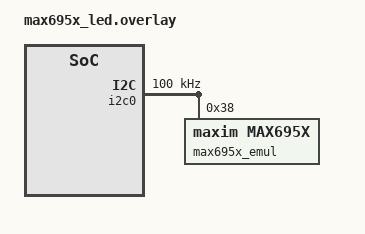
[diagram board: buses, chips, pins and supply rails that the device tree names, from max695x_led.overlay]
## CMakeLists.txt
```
# Copyright 2022 The ChromiumOS Authors
# Use of this source code is governed by a BSD-style license that can be
# found in the LICENSE file.

# Add include paths
target_include_directories(app PRIVATE
    "${PLATFORM_EC}/zephyr/shim/src/led_driver"
    "${CMAKE_CURRENT_SOURCE_DIR}/src")

# Add source files
zephyr_library_sources_ifdef(CONFIG_LINK_TEST_SUITE_LED_DRIVER
    src/led_common.c
    src/led.c
    src/stubs.c
)
zephyr_library_sources_ifdef(CONFIG_LINK_TEST_SUITE_LED_DRIVER_ALIAS_LED
    src/led_alias.c
)
zephyr_library_sources_ifdef(CONFIG_LINK_TEST_SUITE_LED_DRIVER_CUSTOM
    src/led_custom.c
    src/stubs.c
)
zephyr_library_sources_ifdef(CONFIG_LINK_TEST_SUITE_LED_DRIVER_SEQUENCE
    src/led_sequence.c
    src/stubs.c
)
zephyr_library_sources_ifdef(CONFIG_LINK_TEST_SUITE_LED_DRIVER_MAX695X
    src/max695x_led_test_simple.c
    src/stubs.c
    ${PLATFORM_EC}/driver/led/max695x.c
)
```

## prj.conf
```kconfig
# Copyright 2022 The ChromiumOS Authors
# Use of this source code is governed by a BSD-style license that can be
# found in the LICENSE file.

# Configuration for MAX695x LED driver tests
CONFIG_PLATFORM_EC_MAX695X_SEVEN_SEGMENT_DISPLAY=y
# Console command enabled to test driver console functionality
CONFIG_PLATFORM_EC_CONSOLE_CMD_SEVEN_SEGMENT_DISPLAY=y
CONFIG_I2C=y
CONFIG_PLATFORM_EC_I2C=y
CONFIG_EMUL=y
CONFIG_I2C_EMUL=y
CONFIG_PLATFORM_EC_HOOKS=y
```

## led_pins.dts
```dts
/* Copyright 2022 The ChromiumOS Authors
 * Use of this source code is governed by a BSD-style license that can be
 * found in the LICENSE file.
 */

 /* Based off of `ec/zephyr/program/herobrine/led_pins_herobrine.dts`
  * Modified led-colors to obtain better test coverage.
  */
/ {
	/delete-node/ pwm-led-pins;

	led_pins: gpio-led-pins {
		compatible = "cros-ec,gpio-led-pins";

		left_led: left-led {
			led-id = "EC_LED_ID_SYSRQ_DEBUG_LED";
			led-pins = <&gpio_ec_chg_led_y_c1
				    &gpio_ec_chg_led_w_c1>;

			sysrq_debug_led_off: color-off {
				led-color = "LED_OFF";
				led-values = <0 0>;
			};

			sysrq_debug_led_blue: color-blue-left {
				led-color = "LED_BLUE";
				led-values = <1 0>;
			};
			sysrq_debug_led_white: color-white-left {
				led-color = "LED_WHITE";
				led-values = <0 1>;
			};
		};

		right_led: right-led {
			led-id = "EC_LED_ID_BATTERY_LED";
			led-pins = <&gpio_ec_chg_led_y_c0
				    &gpio_ec_chg_led_w_c0>;

			battery_led_off: color-off {
				led-color = "LED_OFF";
				led-values = <0 0>;
			};
			battery_led_blue: color-blue-right {
				led-color = "LED_BLUE";
				led-values = <1 0>;
			};
			battery_led_white: color-white-right {
				led-color = "LED_WHITE";
				led-values = <0 1>;
			};
		};
	};
};
```

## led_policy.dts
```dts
/* Copyright 2022 The ChromiumOS Authors
 * Use of this source code is governed by a BSD-style license that can be
 * found in the LICENSE file.
 */

/* Based off of `ec/zephyr/program/brox/led_policy.dtsi`
 * Modified led-colors to obtain better test coverage.
 */

#include <dt-bindings/battery.h>

/ {
	led-colors {
		compatible = "cros-ec,led-policy";
		led-pins = <&led_pins>;

		power-state-charge-right-with-alt-policy-1 {
			charge-state = "LED_PWRS_CHARGE";
			charge-port = <0>; /* Right port */
			batt-lvl = <BATTERY_LEVEL_EMPTY 99>;
			/* Battery is charging */
			batt-state-mask = <SB_STATUS_DISCHARGING>;
			batt-state = <0>;
			board-led-alt-policy-label = <1>;

			battery-led {
				led-id = "EC_LED_ID_BATTERY_LED";

				color-0 {
					led-color = <&battery_led_white>;
				};
			};
		};

		power-state-charge-right-with-alt-policy-0 {
			charge-state = "LED_PWRS_CHARGE";
			charge-port = <0>; /* Right port */
			batt-lvl = <BATTERY_LEVEL_EMPTY 99>;
			/* Battery is charging */
			batt-state-mask = <SB_STATUS_DISCHARGING>;
			batt-state = <0>;
			board-led-alt-policy-label = <0>;

			battery-led {
				led-id = "EC_LED_ID_BATTERY_LED";

				color-0 {
					led-color = <&battery_led_off>;
				};
			};
		};

		power-state-charge-right-full {
			charge-state = "LED_PWRS_CHARGE";
			charge-port = <0>; /* Right port */
			batt-lvl = <100 100>;
			/* Battery is charging */
			batt-state-mask = <SB_STATUS_DISCHARGING>;
			batt-state = <0>;

			battery-led {
				led-id = "EC_LED_ID_BATTERY_LED";

				color-0 {
					led-color = <&battery_led_blue>;
				};
			};
		};

		power-state-charge-left {
			charge-state = "LED_PWRS_CHARGE";
			charge-port = <1>; /* Left port */

			battery-led {
				led-id = "EC_LED_ID_BATTERY_LED";
				/* Blue 1 sec, White 1 sec */
				color-0 {
					led-color = <&battery_led_blue>;
					period-ms = <1000>;
				};
				color-1 {
					led-color = <&battery_led_white>;
					period-ms = <1000>;
				};
			};
		};

		power-state-near-full {
			charge-state = "LED_PWRS_CHARGE_NEAR_FULL";

			battery-led {
				led-id = "EC_LED_ID_BATTERY_LED";

				color-0 {
					led-color = <&battery_led_blue>;
				};
			};
		};

		power-state-discharge-valid {
			charge-state = "LED_PWRS_DISCHARGE";
			batt-lvl = <BATTERY_LEVEL_EMPTY 99>;
			/* Battery is discharging */
			batt-state-mask = <SB_STATUS_DISCHARGING>;
			batt-state = <SB_STATUS_DISCHARGING>;

			battery-led {
				led-id = "EC_LED_ID_BATTERY_LED";

				color-0 {
					led-color = <&battery_led_off>;
				};
			};
		};

		/* This policy is invalid and should never trigger*/
		power-state-discharge-invalid {
			charge-state = "LED_PWRS_DISCHARGE";
			batt-lvl = <100 100>;
			batt-state-mask = <SB_STATUS_DISCHARGING>;
			batt-state = <0>;

			battery-led {
				led-id = "EC_LED_ID_BATTERY_LED";

				color-0 {
					led-color = <&battery_led_blue>;
				};
			};
		};

		power-state-error-left-low {
			charge-state = "LED_PWRS_ERROR";
			charge-port = <1>; /* Left port */
			batt-lvl = <BATTERY_LEVEL_EMPTY BATTERY_LEVEL_LOW>;

			battery-led {
				led-id = "EC_LED_ID_BATTERY_LED";
				/* Blue 1 sec, White 1 sec */
				color-0 {
					led-color = <&battery_led_blue>;
					period-ms = <1000>;
				};
				color-1 {
					led-color = <&battery_led_white>;
					period-ms = <1000>;
				};
			};
		};

		power-state-error-left-high {
			charge-state = "LED_PWRS_ERROR";
			charge-port = <1>; /* Left port */
			batt-lvl = <(BATTERY_LEVEL_LOW + 1) BATTERY_LEVEL_FULL>;

			battery-led {
				led-id = "EC_LED_ID_BATTERY_LED";
				/* Blue 1 sec, White 1 sec */
				color-0 {
					led-color = <&battery_led_blue>;
					period-ms = <1000>;
				};
				color-1 {
					led-color = <&battery_led_white>;
					period-ms = <1000>;
				};
			};
		};

		power-state-error-right {
			charge-state = "LED_PWRS_ERROR";
			charge-port = <0>; /* Right port */
			/* Battery is charging */
			batt-state-mask = <SB_STATUS_DISCHARGING>;
			batt-state = <0>;

			battery-led {
				led-id = "EC_LED_ID_BATTERY_LED";
				/* Blue 1 sec, White 1 sec */
				color-0 {
					led-color = <&battery_led_blue>;
					period-ms = <1000>;
				};
				color-1 {
					led-color = <&battery_led_white>;
					period-ms = <1000>;
				};
			};
		};

		power-state-forced-idle {
			charge-state = "LED_PWRS_FORCED_IDLE";

			battery-led {
				led-id = "EC_LED_ID_BATTERY_LED";
				color-0 {
					led-color = <&battery_led_off>;
				};
			};
		};

		power-state-idle {
			charge-state = "LED_PWRS_IDLE";

			battery-led {
				led-id = "EC_LED_ID_BATTERY_LED";
				color-0 {
					led-color = <&battery_led_off>;
				};
			};
		};

		chipset-state-s0 {
			chipset-state = "POWER_S0";

			power-led {
				led-id = "EC_LED_ID_SYSRQ_DEBUG_LED";

				color-0 {
					led-color = <&sysrq_debug_led_blue>;
				};
			};
		};

		chipset-state-s3 {
			chipset-state = "POWER_S3";

			power-led {
				led-id = "EC_LED_ID_SYSRQ_DEBUG_LED";

				color-0 {
					led-color = <&sysrq_debug_led_white>;
				};
			};
		};

		chipset-state-s5 {
			chipset-state = "POWER_S5";

			power-led {
				led-id = "EC_LED_ID_SYSRQ_DEBUG_LED";

				color-0 {
					led-color = <&sysrq_debug_led_off>;
				};
			};
		};
	};
};
```

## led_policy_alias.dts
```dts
/* Copyright 2023 The ChromiumOS Authors
 * Use of this source code is governed by a BSD-style license that can be
 * found in the LICENSE file.
 */

#include <dt-bindings/battery.h>

/ {
	led-colors {
		compatible = "cros-ec,led-policy";
		led-pins = <&led_pins>;

		sysrq-alias = "EC_LED_ID_BATTERY_LED";
		sysrq-led-control-color = "LED_WHITE";

		recovery-hw-reinit-alias = "EC_LED_ID_BATTERY_LED";
		recovery-hw-reinit-led-control-color = "LED_BLUE";
	};
};
```

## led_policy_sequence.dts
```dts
/* Copyright 2026 The ChromiumOS Authors
 * Use of this source code is governed by a BSD-style license that can be
 * found in the LICENSE file.
 */

/ {
	led-colors {
		compatible = "cros-ec,led-policy";
		led-pins = <&led_pins>;

		/* Label 1 is the standard default state: solid White */
		seq-white {
			board-led-alt-policy-label = <1>;
			battery-led-logic {
				led-id = "EC_LED_ID_BATTERY_LED";
				color-0 {
					led-color = <&battery_led_white>;
				};
			};
		};

		/* Label 2 triggers Infinite Loop (cycle-count = 0) */
		seq-infinite {
			board-led-alt-policy-label = <2>;

			battery-led-logic {
				led-id = "EC_LED_ID_BATTERY_LED";
				cycle-count = <0>;
				color-0 {
					led-color = <&battery_led_blue>;
					period-ms = <500>;
				};
				color-1 {
					led-color = <&battery_led_white>;
					period-ms = <500>;
				};
			};
		};

		/* Label 3 triggers Run-Once (cycle-count = 1) */
		seq-once {
			board-led-alt-policy-label = <3>;

			battery-led-logic {
				led-id = "EC_LED_ID_BATTERY_LED";
				cycle-count = <1>;
				color-0 {
					led-color = <&battery_led_white>;
					period-ms = <250>;
				};
				color-1 {
					led-color = <&battery_led_blue>;
					period-ms = <250>;
				};
			};
		};

		/* Label 4 triggers Instant Transition at start */
		seq-instant-init {
			board-led-alt-policy-label = <4>;
			battery-led-logic {
				led-id = "EC_LED_ID_BATTERY_LED";
				color-0 {
					led-color = <&battery_led_off>;
					period-ms = <0>;
				};
				color-1 {
					led-color = <&battery_led_blue>;
					period-ms = <0>;
				};
				color-2 {
					led-color = <&battery_led_white>;
					period-ms = <250>;
				};
			};
		};

		/* Label 5 triggers All-Zero Pattern (Safety Guard) */
		seq-all-zero {
			board-led-alt-policy-label = <5>;
			battery-led-logic {
				led-id = "EC_LED_ID_BATTERY_LED";
				color-0 {
					led-color = <&battery_led_blue>;
					period-ms = <0>;
				};
				color-1 {
					led-color = <&battery_led_white>;
					period-ms = <0>;
				};
			};
		};

		/* Label 6 triggers Instant Transition in middle */
		seq-mid-instant {
			board-led-alt-policy-label = <6>;
			battery-led-logic {
				led-id = "EC_LED_ID_BATTERY_LED";
				color-0 {
					led-color = <&battery_led_blue>;
					period-ms = <250>;
				};
				color-1 {
					led-color = <&battery_led_off>;
					period-ms = <0>;
				};
				color-2 {
					led-color = <&battery_led_white>;
					period-ms = <250>;
				};
			};
		};

		/* Label 7: Solid Off (used for preemption test) */
		seq-off {
			board-led-alt-policy-label = <7>;
			battery-led-logic {
				led-id = "EC_LED_ID_BATTERY_LED";
				color-0 {
					led-color = <&battery_led_off>;
				};
			};
		};
	};
};
```

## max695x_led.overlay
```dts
/* Copyright 2026 The ChromiumOS Authors
 * Use of this source code is governed by a BSD-style license that can be
 * found in the LICENSE file.
 *
 * Device tree overlay for MAX695x 7-segment LED display tests
 */

/ {
	named-i2c-ports {
		compatible = "named-i2c-ports";
		i2c_port80: port80 {
			i2c-port = <&i2c0>;
			enum-names = "I2C_PORT_PORT80";
		};
	};
};

&i2c0 {
	status = "okay";
	clock-frequency = <I2C_BITRATE_STANDARD>;

	max695x_emul: max695x@38 {
		compatible = "maxim,max695x","cros,i2c-mock";
		status = "okay";
		reg = <0x38>;
	};
};
```

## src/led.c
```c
/* Copyright 2022 The ChromiumOS Authors
 * Use of this source code is governed by a BSD-style license that can be
 * found in the LICENSE file.
 */

#include "battery_smart.h"
#include "drivers/led.h"
#include "ec_commands.h"
#include "emul/emul_isl923x.h"
#include "emul/emul_smart_battery.h"
#include "emul/tcpc/emul_tcpci_partner_src.h"
#include "gpio.h"
#include "include/power.h"
#include "led_common.h"
#include "test/drivers/test_state.h"
#include "test/drivers/utils.h"
#include "usb_pd.h"

#include <zephyr/ztest.h>

#include <dt-bindings/battery.h>

#define BATTERY_NODE DT_NODELABEL(battery)

#define VERIFY_LED_COLOR(color, led_id)                                    \
	{                                                                  \
		const struct led_pins_node_t *pin_node =                   \
			led_get_node(color, led_id);                       \
		const struct gpio_pin_t *gpio_pins =                       \
			(const struct gpio_pin_t *)pin_node->pins;         \
		for (int j = 0; j < pin_node->pins_count; j++) {           \
			int val = gpio_pin_get_dt(                         \
				gpio_get_dt_spec(gpio_pins[j].signal));    \
			int expecting = gpio_pins[j].val;                  \
			zassert_equal(expecting, val, "[%d]: %d != %d", j, \
				      expecting, val);                     \
		}                                                          \
	}

ZTEST(led_driver, test_led_control)
{
	test_set_chipset_to_power_level(POWER_S5);

	/* Exercise valid led_id, set to RESET state */
	led_control(EC_LED_ID_SYSRQ_DEBUG_LED, LED_STATE_RESET);
	VERIFY_LED_COLOR(LED_OFF, EC_LED_ID_SYSRQ_DEBUG_LED);

	/* Exercise valid led_id, set to OFF state.
	 * Verify matches OFF color defined in device tree
	 */
	led_control(EC_LED_ID_SYSRQ_DEBUG_LED, LED_STATE_OFF);
	VERIFY_LED_COLOR(LED_OFF, EC_LED_ID_SYSRQ_DEBUG_LED);

	/* Exercise valid led_id, set to ON state.
	 * Verify matches ON color defined in device tree
	 */
	led_control(EC_LED_ID_SYSRQ_DEBUG_LED, LED_STATE_ON);
	VERIFY_LED_COLOR(LED_BLUE, EC_LED_ID_SYSRQ_DEBUG_LED);

	/* Exercise invalid led_id -- no change to led color */
	led_control(EC_LED_ID_LEFT_LED, LED_STATE_RESET);
	VERIFY_LED_COLOR(LED_BLUE, EC_LED_ID_SYSRQ_DEBUG_LED);
}

ZTEST(led_driver, test_led_brightness)
{
	uint8_t brightness[EC_LED_COLOR_COUNT] = { -1 };

	/* Verify LED set to OFF */
	led_set_brightness(EC_LED_ID_SYSRQ_DEBUG_LED, brightness);
	VERIFY_LED_COLOR(LED_OFF, EC_LED_ID_SYSRQ_DEBUG_LED);

	/* Verify LED colors defined in device tree are reflected in the
	 * brightness array.
	 */
	led_get_brightness_range(EC_LED_ID_SYSRQ_DEBUG_LED, brightness);
	zassert_equal(brightness[EC_LED_COLOR_BLUE], 1);
	zassert_equal(brightness[EC_LED_COLOR_WHITE], 1);

	/* Verify LED set to WHITE */
	led_set_brightness(EC_LED_ID_SYSRQ_DEBUG_LED, brightness);
	VERIFY_LED_COLOR(LED_WHITE, EC_LED_ID_SYSRQ_DEBUG_LED);
}

ZTEST(led_driver, test_get_chipset_state)
{
	enum power_state pwr_state;

	test_set_chipset_to_g3();
	pwr_state = get_chipset_state();
	zassert_equal(pwr_state, POWER_S5, "expected=%d, returned=%d", POWER_S5,
		      pwr_state);

	test_set_chipset_to_s0();
	pwr_state = get_chipset_state();
	zassert_equal(pwr_state, POWER_S0, "expected=%d, returned=%d", POWER_S0,
		      pwr_state);

	test_set_chipset_to_power_level(POWER_S3);
	pwr_state = get_chipset_state();
	zassert_equal(pwr_state, POWER_S3, "expected=%d, returned=%d", POWER_S3,
		      pwr_state);
}

ZTEST(led_driver, test_separated_led_policies)
{
	led_auto_control(EC_LED_ID_SYSRQ_DEBUG_LED, 1);
	led_auto_control(EC_LED_ID_BATTERY_LED, 1);

	set_ac_enabled(false);
	test_set_chipset_to_power_level(POWER_S0);
	VERIFY_LED_COLOR(LED_BLUE, EC_LED_ID_SYSRQ_DEBUG_LED);
	VERIFY_LED_COLOR(LED_OFF, EC_LED_ID_BATTERY_LED);

	test_set_chipset_to_power_level(POWER_S3);
	VERIFY_LED_COLOR(LED_WHITE, EC_LED_ID_SYSRQ_DEBUG_LED);
	VERIFY_LED_COLOR(LED_OFF, EC_LED_ID_BATTERY_LED);

	test_set_chipset_to_power_level(POWER_S5);
	VERIFY_LED_COLOR(LED_OFF, EC_LED_ID_SYSRQ_DEBUG_LED);
	VERIFY_LED_COLOR(LED_OFF, EC_LED_ID_BATTERY_LED);

	set_ac_enabled(true);
	test_set_chipset_to_power_level(POWER_S0);
	VERIFY_LED_COLOR(LED_BLUE, EC_LED_ID_SYSRQ_DEBUG_LED);
	VERIFY_LED_COLOR(LED_WHITE, EC_LED_ID_BATTERY_LED);

	test_set_chipset_to_power_level(POWER_S3);
	VERIFY_LED_COLOR(LED_WHITE, EC_LED_ID_SYSRQ_DEBUG_LED);
	VERIFY_LED_COLOR(LED_WHITE, EC_LED_ID_BATTERY_LED);

	test_set_chipset_to_power_level(POWER_S5);
	VERIFY_LED_COLOR(LED_OFF, EC_LED_ID_SYSRQ_DEBUG_LED);
	VERIFY_LED_COLOR(LED_WHITE, EC_LED_ID_BATTERY_LED);
}

struct led_driver_fixture {
	struct tcpci_partner_data source_20v_3a;
	struct tcpci_src_emul_data src_ext;
	const struct emul *tcpci_emul;
	const struct emul *charger_emul;
};

static inline void connect_charger_to_port(struct led_driver_fixture *fixture)
{
	set_ac_enabled(true);
	zassert_ok(tcpci_partner_connect_to_tcpci(&fixture->source_20v_3a,
						  fixture->tcpci_emul),
		   NULL);
	isl923x_emul_set_adc_vbus(fixture->charger_emul,
				  PDO_FIXED_VOLTAGE(fixture->src_ext.pdo[1]));
	k_sleep(K_SECONDS(10));
}

static inline void
disconnect_charger_from_port(struct led_driver_fixture *fixture)
{
	set_ac_enabled(false);
	zassert_ok(tcpci_emul_disconnect_partner(fixture->tcpci_emul));
	isl923x_emul_set_adc_vbus(fixture->charger_emul, 0);
	k_sleep(K_SECONDS(1));
}

static void *led_driver_setup(void)
{
	static struct led_driver_fixture fixture;

	/* Get references for the emulators */
	fixture.tcpci_emul = EMUL_GET_USBC_BINDING(0, tcpc);
	fixture.charger_emul = EMUL_GET_USBC_BINDING(0, chg);

	/* Initialized the source to supply 20V and 3A */
	tcpci_partner_init(&fixture.source_20v_3a, PD_REV20);
	fixture.source_20v_3a.extensions = tcpci_src_emul_init(
		&fixture.src_ext, &fixture.source_20v_3a, NULL);
	fixture.src_ext.pdo[1] =
		PDO_FIXED(20000, 3000, PDO_FIXED_UNCONSTRAINED);

	return &fixture;
}

static void led_driver_before(void *data)
{
	connect_charger_to_port((struct led_driver_fixture *)data);
}

static void led_driver_after(void *data)
{
	disconnect_charger_from_port((struct led_driver_fixture *)data);
}

ZTEST_SUITE(led_driver, drivers_predicate_post_main, led_driver_setup,
	    led_driver_before, led_driver_after, NULL);

ZTEST(led_driver, test_get_battery_state)
{
	const struct emul *emul = EMUL_DT_GET(BATTERY_NODE);
	uint16_t battery_status;

	zassert_ok(sbat_emul_get_word_val(emul, SB_BATTERY_STATUS,
					  &battery_status),
		   NULL);
	zassert_equal(battery_status & SB_STATUS_DISCHARGING, 0,
		      "Battery is discharging: %d", battery_status);
}
```

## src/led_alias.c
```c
/* Copyright 2023 The ChromiumOS Authors
 * Use of this source code is governed by a BSD-style license that can be
 * found in the LICENSE file.
 */

#include "gpio.h"
#include "led_common.h"
#include "test/drivers/test_state.h"

#include <zephyr/ztest.h>

ZTEST_SUITE(led_driver_alias, drivers_predicate_post_main, NULL, NULL, NULL,
	    NULL);

ZTEST(led_driver_alias, test_control_sysrq_active)
{
	led_control(EC_LED_ID_SYSRQ_DEBUG_LED, LED_STATE_ON);
	zassert_true(
		gpio_pin_get_dt(GPIO_DT_FROM_NODELABEL(gpio_ec_chg_led_w_c0)),
		"LED blue channel is not on");
}

ZTEST(led_driver_alias, test_control_sysrq_inactive)
{
	led_control(EC_LED_ID_SYSRQ_DEBUG_LED, LED_STATE_OFF);
	zassert_false(
		gpio_pin_get_dt(GPIO_DT_FROM_NODELABEL(gpio_ec_chg_led_w_c0)),
		"LED blue channel is not on");
}

ZTEST(led_driver_alias, test_control_hw_reinit_active)
{
	led_control(EC_LED_ID_RECOVERY_HW_REINIT_LED, LED_STATE_ON);
	zassert_true(
		gpio_pin_get_dt(GPIO_DT_FROM_NODELABEL(gpio_ec_chg_led_y_c0)),
		"LED blue channel is not on");
}

ZTEST(led_driver_alias, test_control_hw_reinit_inactive)
{
	led_control(EC_LED_ID_RECOVERY_HW_REINIT_LED, LED_STATE_OFF);
	zassert_false(
		gpio_pin_get_dt(GPIO_DT_FROM_NODELABEL(gpio_ec_chg_led_y_c0)),
		"LED blue channel is not on");
}
```

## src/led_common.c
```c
/* Copyright 2022 The ChromiumOS Authors
 * Use of this source code is governed by a BSD-style license that can be
 * found in the LICENSE file.
 */
#include "host_command.h"
#include "led_common.h"
#include "test/drivers/test_state.h"

#include <zephyr/fff.h>
#include <zephyr/ztest.h>

ZTEST(led_common, test_host_command__query)
{
	/* Gets the brightness range for an LED */

	int ret;
	struct ec_response_led_control response;
	struct ec_params_led_control params = {
		.led_id = EC_LED_ID_BATTERY_LED,
		.flags = EC_LED_FLAGS_QUERY,
	};

	/* Expected brightness levels per color channel for this LED */
	uint8_t expected_brightness_ranges[] = {
		[EC_LED_COLOR_RED] = 0,	  [EC_LED_COLOR_GREEN] = 0,
		[EC_LED_COLOR_BLUE] = 1,  [EC_LED_COLOR_YELLOW] = 0,
		[EC_LED_COLOR_WHITE] = 1, [EC_LED_COLOR_AMBER] = 0,
	};

	ret = ec_cmd_led_control_v1(NULL, &params, &response);

	zassert_ok(ret, "Host command returned %d", ret);
	zassert_mem_equal(expected_brightness_ranges, response.brightness_range,
			  sizeof(expected_brightness_ranges), NULL);
}

ZTEST(led_common, test_host_command__invalid_led)
{
	/* Try accessing info on a non-existent LED */

	int ret;
	struct ec_response_led_control response;
	struct ec_params_led_control params = {
		.led_id = EC_LED_ID_COUNT, /* Non-existent */
		.flags = EC_LED_FLAGS_QUERY,
	};

	ret = ec_cmd_led_control_v1(NULL, &params, &response);

	zassert_equal(EC_RES_INVALID_PARAM, ret, "Host command returned %d",
		      ret);
}

ZTEST(led_common, test_host_command__supported_channel)
{
	/* Try setting brightness on a color channel that is not supported */

	int ret;
	struct ec_response_led_control response;
	struct ec_params_led_control params = {
		.led_id = EC_LED_ID_BATTERY_LED,
		.flags = 0x00,
		.brightness = {
			/* This LED does not have a red channel */
			[EC_LED_COLOR_RED] = 100,
		},
	};

	ret = ec_cmd_led_control_v1(NULL, &params, &response);

	zassert_equal(EC_RES_INVALID_PARAM, ret, "Host command returned %d",
		      ret);
}

ZTEST(led_common, test_host_command__manual_control)
{
	/* Set brightness for an LED directly */

	int ret;
	struct ec_response_led_control response;
	struct ec_params_led_control params = {
		.led_id = EC_LED_ID_BATTERY_LED,
		.flags = 0x00,
		.brightness = {
			[EC_LED_COLOR_BLUE] = 1,
			/* All other color channels off */
		},
	};

	ret = ec_cmd_led_control_v1(NULL, &params, &response);

	zassert_equal(EC_RES_SUCCESS, ret, "Host command returned %d", ret);
	zassert_true(
		gpio_pin_get_dt(GPIO_DT_FROM_NODELABEL(gpio_ec_chg_led_y_c0)),
		"LED blue channel is not on");
	zassert_false(
		gpio_pin_get_dt(GPIO_DT_FROM_NODELABEL(gpio_ec_chg_led_w_c0)),
		"LED white channel is not off");
}

FAKE_VOID_FUNC(board_led_auto_control);

ZTEST(led_common, test_host_command__auto_control)
{
	/* Configure an LED for automatic control */

	int ret;
	struct ec_response_led_control response;
	struct ec_params_led_control params = {
		.led_id = EC_LED_ID_BATTERY_LED,
		.flags = EC_LED_FLAGS_AUTO,
	};

	ret = ec_cmd_led_control_v1(NULL, &params, &response);

	zassert_equal(EC_RES_SUCCESS, ret, "Host command returned %d", ret);
	zassert_equal(1, board_led_auto_control_fake.call_count,
		      "Did not call auto control function.");
}

static void reset(void *data)
{
	ARG_UNUSED(data);

	RESET_FAKE(board_led_auto_control);
}

ZTEST_SUITE(led_common, drivers_predicate_post_main, NULL, reset, reset, NULL);
```

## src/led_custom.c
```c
/* Copyright 2026 The ChromiumOS Authors
 * Use of this source code is governed by a BSD-style license that can be
 * found in the LICENSE file.
 */

#include "drivers/led.h"
#include "gpio.h"
#include "hooks.h"
#include "led_common.h"
#include "test/drivers/test_state.h"
#include "test/drivers/utils.h"

#include <zephyr/ztest.h>

extern uint32_t led_test_apply_count;

void set_board_led_alt_policy(int label);

static void *led_custom_setup(void)
{
	/* Allow init time to settle */
	k_sleep(K_MSEC(1000));

	return NULL;
}

static bool is_blue_on(void)
{
	return gpio_pin_get_dt(GPIO_DT_FROM_NODELABEL(gpio_ec_chg_led_y_c0));
}

static bool is_white_on(void)
{
	return gpio_pin_get_dt(GPIO_DT_FROM_NODELABEL(gpio_ec_chg_led_w_c0));
}

static bool is_off(void)
{
	return !is_blue_on() && !is_white_on();
}

static void led_custom_before(void *data)
{
	/* Reset to a known state (White) */
	set_board_led_alt_policy(1);
	led_control(EC_LED_ID_BATTERY_LED, LED_STATE_RESET);
	led_set_custom_patterns(NULL);
	led_test_apply_count = 0;

	/* Run one tick to apply the reset state */
	hook_notify(HOOK_TICK);
	k_sleep(K_MSEC(30));
	zassert_true(is_white_on(), "Setup failed: LED should be White");
}

ZTEST_SUITE(led_driver_custom, drivers_predicate_post_main, led_custom_setup,
	    led_custom_before, NULL, NULL);

/*
 * Test that a custom pattern overrides the standard policy immediately.
 */
ZTEST(led_driver_custom, test_custom_override)
{
	/* Define a custom pattern: Solid Blue, infinite */
	const struct led_pins_node_t *blue_node =
		led_get_node(LED_BLUE, EC_LED_ID_BATTERY_LED);
	zassert_not_null(blue_node, "Could not find Blue node for Battery LED");

	struct pattern_color_node_t color_step = {
		.color_idx = blue_node->color_idx,
		.duration_ms = 1000,
	};

	struct led_pattern_node_t pattern = {
		.led_id = EC_LED_ID_BATTERY_LED,
		.pattern_color = &color_step,
		.pattern_len = 1,
		.cycle_limit = 0, /* Infinite */
		.transition = LED_TRANSITION_STEP,
	};

	struct custom_led_patterns_t custom = {
		.led_patterns = &pattern,
		.num_patterns = 1,
		.led_id = EC_LED_ID_BATTERY_LED,
	};

	/* Apply custom pattern */
	led_set_custom_patterns(&custom);

	/* Allow worker to run */
	k_sleep(K_MSEC(30));

	/* Verify Blue (Custom) overrides White (Policy) */
	zassert_true(is_blue_on(), "Custom pattern did not take effect");
	zassert_false(is_white_on(), "Standard policy should be skipped");

	/* Clear custom pattern */
	led_set_custom_patterns(NULL);

	/* Allow worker to run */
	k_sleep(K_MSEC(30));

	/* Verify return to White */
	zassert_true(is_white_on(), "Should revert to standard policy");
}

/*
 * Test auto reversion after cycle limit.
 */
ZTEST(led_driver_custom, test_custom_auto_revert)
{
	const struct led_pins_node_t *blue_node =
		led_get_node(LED_BLUE, EC_LED_ID_BATTERY_LED);
	const struct led_pins_node_t *off_node =
		led_get_node(LED_OFF, EC_LED_ID_BATTERY_LED);

	struct pattern_color_node_t steps[] = {
		{ .color_idx = blue_node->color_idx, .duration_ms = 100 },
		{ .color_idx = off_node->color_idx, .duration_ms = 100 },
	};

	struct led_pattern_node_t pattern = {
		.led_id = EC_LED_ID_BATTERY_LED,
		.pattern_color = steps,
		.pattern_len = 2,
		.cycle_limit = 1, /* Run once then stop */
		.transition = LED_TRANSITION_STEP,
	};

	struct custom_led_patterns_t custom = {
		.led_patterns = &pattern,
		.num_patterns = 1,
		.led_id = EC_LED_ID_BATTERY_LED,
	};

	/* Apply custom pattern */
	led_set_custom_patterns(&custom);

	/* T=0-100ms: Blue */
	k_sleep(K_MSEC(30));
	zassert_true(is_blue_on(), "Custom pattern step 1 (Blue) failed");

	/* T=100-200ms: Off */
	k_sleep(K_MSEC(100));
	zassert_true(is_off(), "Custom pattern step 2 (Off) failed");

	/* T>200ms: Finished. Should revert to standard policy (White) */
	k_sleep(K_MSEC(130));

	zassert_true(is_white_on(), "Did not revert to standard policy");
}

/*
 * Test that a custom pattern for an LED not managed by the driver is ignored.
 */
ZTEST(led_driver_custom, test_custom_unsupported_led)
{
	const struct led_pins_node_t *blue_node =
		led_get_node(LED_BLUE, EC_LED_ID_BATTERY_LED);

	struct pattern_color_node_t color_step = {
		.color_idx = blue_node->color_idx,
		.duration_ms = 1000,
	};

	struct led_pattern_node_t pattern = {
		.pattern_color = &color_step,
		.pattern_len = 1,
		.cycle_limit = 0,
		.transition = LED_TRANSITION_STEP,
	};

	struct custom_led_patterns_t custom = {
		.led_id = EC_LED_ID_POWER_LED,
		.led_patterns = &pattern,
		.num_patterns = 1,
		.led_id = EC_LED_ID_POWER_LED, /* Unsupported LED */
	};

	/* Apply custom pattern */
	led_set_custom_patterns(&custom);

	/* Trigger Tick */
	hook_notify(HOOK_TICK);
	k_sleep(K_MSEC(30));

	/*
	 * If the mask check failed (bug), the driver would execute the pattern
	 * using blue_node (which points to Battery LED pins) and turn it Blue.
	 * If the mask check works (correct), the pattern is skipped, and
	 * standard policy (White) remains.
	 */
	zassert_true(is_white_on(), "Standard policy should remain active");
}

/*
 * Test that manual control.
 */
ZTEST(led_driver_custom, test_manual_control)
{
	/* Initialize the LED to the OFF state. */
	set_board_led_alt_policy(7);
	hook_notify(HOOK_TICK);
	k_sleep(K_MSEC(30));

	zassert_true(is_off(), "LED intially should be in the off state");

	const struct led_pins_node_t *blue_node =
		led_get_node(LED_BLUE, EC_LED_ID_BATTERY_LED);
	const struct led_pins_node_t *white_node =
		led_get_node(LED_WHITE, EC_LED_ID_BATTERY_LED);

	/* Define custom pattern: Blue (500ms) -> White (500ms) */
	struct pattern_color_node_t steps[] = {
		{ .color_idx = blue_node->color_idx, .duration_ms = 500 },
		{ .color_idx = white_node->color_idx, .duration_ms = 500 },
	};
	struct led_pattern_node_t pattern = {
		.pattern_color = steps,
		.pattern_len = 2,
		.cycle_limit = 0,
		.transition = LED_TRANSITION_STEP,
	};
	struct custom_led_patterns_t custom = {
		.led_id = EC_LED_ID_BATTERY_LED,
		.led_patterns = &pattern,
		.num_patterns = 1,
		.led_id = EC_LED_ID_BATTERY_LED,
	};

	/* Apply custom pattern */
	led_set_custom_patterns(&custom);
	k_sleep(K_MSEC(30));
	zassert_true(is_blue_on(), "Custom pattern step 1 (Blue) failed");

	/* Disable Auto Control */
	led_auto_control(EC_LED_ID_BATTERY_LED, 0);

	/*
	 * Wait long enough that we WOULD have transitioned to White
	 * if auto control were on (>500ms).
	 */
	k_sleep(K_MSEC(600));
	/* Trigger tick to allow driver to (not) run */
	hook_notify(HOOK_TICK);

	/*
	 * Verify LED is still Blue. The driver should not have updated the
	 * hardware to White because auto-control was off.
	 */
	zassert_true(is_blue_on(),
		     "LED should hold Step 1 while auto-control is off");
	zassert_false(is_white_on(),
		      "LED should not have advanced to White (Step 2)");

	/* Re-enable auto control */
	led_auto_control(EC_LED_ID_BATTERY_LED, 1);
	hook_notify(HOOK_TICK);
	k_sleep(K_MSEC(30));

	/*
	 * Verify LED pattern reverts to OFF with auto-control back on.
	 */
	zassert_true(
		is_off(),
		"LED should revert to the off state after auto-control is re-enabled");
}

/*
 * Test system state preemption.
 */
ZTEST(led_driver_custom, test_system_state_preemption)
{
	const struct led_pins_node_t *blue_node =
		led_get_node(LED_BLUE, EC_LED_ID_BATTERY_LED);

	struct pattern_color_node_t color_step = {
		.color_idx = blue_node->color_idx,
		.duration_ms = 5000,
	};

	struct led_pattern_node_t pattern = {
		.led_id = EC_LED_ID_BATTERY_LED,
		.pattern_color = &color_step,
		.pattern_len = 1,
		.cycle_limit = 0, /* Infinite */
		.transition = LED_TRANSITION_STEP,
	};

	struct custom_led_patterns_t custom = {
		.led_patterns = &pattern,
		.num_patterns = 1,
		.led_id = EC_LED_ID_BATTERY_LED,
	};

	/* Apply custom pattern (Blue) */
	led_set_custom_patterns(&custom);
	k_sleep(K_MSEC(30));
	zassert_true(is_blue_on(), "Custom pattern not active");

	/* Change system state to trigger a new policy (Off) */
	set_board_led_alt_policy(7);

	/*
	 * Trigger the tick. match_node should detect the state change,
	 * see the new policy (Off) becoming active, and cancel the custom
	 * pattern.
	 */
	hook_notify(HOOK_TICK);
	k_sleep(K_MSEC(30));

	/* Verify Custom Pattern was cancelled and new policy is active */
	zassert_true(is_off(), "Custom pattern should be preempted");
}

/*
 * Test that standard policy resets cleanly when custom pattern is cleared.
 */
ZTEST(led_driver_custom, test_resume_resets_policy)
{
	/* Set Standard Policy to Infinite Blink (Blue 500ms, White 500ms) */
	set_board_led_alt_policy(2);
	led_control(EC_LED_ID_BATTERY_LED, LED_STATE_RESET);
	led_set_custom_patterns(NULL);

	/* Tick to start */
	hook_notify(HOOK_TICK);
	k_sleep(K_MSEC(30));
	zassert_true(is_blue_on(), "Standard policy should start Blue");

	/* Advance time into the second half of the cycle (White) */
	/* 500ms Blue -> 500ms White. Wait 600ms total. */
	k_sleep(K_MSEC(600));
	zassert_true(is_white_on(), "Standard policy should be White");

	/* Set Custom Pattern (Solid Off) */
	const struct led_pins_node_t *off_node =
		led_get_node(LED_OFF, EC_LED_ID_BATTERY_LED);
	struct pattern_color_node_t color_step = {
		.color_idx = off_node->color_idx,
		.duration_ms = 1000,
	};
	struct led_pattern_node_t pattern = {
		.led_id = EC_LED_ID_BATTERY_LED,
		.pattern_color = &color_step,
		.pattern_len = 1,
		.cycle_limit = 0,
		.transition = LED_TRANSITION_STEP,
	};
	struct custom_led_patterns_t custom = {
		.led_patterns = &pattern,
		.num_patterns = 1,
		.led_id = EC_LED_ID_BATTERY_LED,
	};

	led_set_custom_patterns(&custom);
	k_sleep(K_MSEC(30));
	zassert_true(is_off(), "Custom pattern (Off) active");

	/* Clear Custom Pattern */
	led_set_custom_patterns(NULL);
	k_sleep(K_MSEC(30));

	/* Verify Standard Policy restarted from beginning (Blue) */
	zassert_true(is_blue_on(), "Standard policy should reset to Blue");
}

/*
 * Test that system steady-state does not preempt custom pattern.
 */
ZTEST(led_driver_custom, test_steady_state_persistence)
{
	const struct led_pins_node_t *blue_node =
		led_get_node(LED_BLUE, EC_LED_ID_BATTERY_LED);

	struct pattern_color_node_t color_step = {
		.color_idx = blue_node->color_idx,
		.duration_ms = 5000,
	};

	struct led_pattern_node_t pattern = {
		.led_id = EC_LED_ID_BATTERY_LED,
		.pattern_color = &color_step,
		.pattern_len = 1,
		.cycle_limit = 0,
		.transition = LED_TRANSITION_STEP,
	};

	struct custom_led_patterns_t custom = {
		.led_patterns = &pattern,
		.num_patterns = 1,
		.led_id = EC_LED_ID_BATTERY_LED,
	};

	/* Trigger a policy and settle its state */
	set_board_led_alt_policy(7);
	hook_notify(HOOK_TICK);
	k_sleep(K_MSEC(30));

	/* Apply custom pattern (Blue) */
	led_set_custom_patterns(&custom);
	k_sleep(K_MSEC(30));
	zassert_true(is_blue_on());

	/* Trigger tick without changing system state */
	hook_notify(HOOK_TICK);
	k_sleep(K_MSEC(30));

	/* Verify Custom Pattern is still active */
	zassert_true(is_blue_on(), "Custom pattern should persist");
	zassert_false(is_white_on(), "Standard policy should not override");
}

/*
 * Test replacing one active custom pattern with another.
 */
ZTEST(led_driver_custom, test_custom_replace_custom)
{
	set_board_led_alt_policy(7);
	hook_notify(HOOK_TICK);
	k_sleep(K_MSEC(30));
	zassert_true(is_off(), "Base policy should be Off");

	const struct led_pins_node_t *blue_node =
		led_get_node(LED_BLUE, EC_LED_ID_BATTERY_LED);
	const struct led_pins_node_t *white_node =
		led_get_node(LED_WHITE, EC_LED_ID_BATTERY_LED);

	/* Define Pattern 1: Solid Blue */
	struct pattern_color_node_t color_step_1 = {
		.color_idx = blue_node->color_idx,
		.duration_ms = 1000,
	};
	struct led_pattern_node_t pattern_1 = {
		.led_id = EC_LED_ID_BATTERY_LED,
		.pattern_color = &color_step_1,
		.pattern_len = 1,
		.cycle_limit = 0,
		.transition = LED_TRANSITION_STEP,
	};
	struct custom_led_patterns_t custom_1 = {
		.led_patterns = &pattern_1,
		.num_patterns = 1,
		.led_id = EC_LED_ID_BATTERY_LED,
	};

	/* Define Pattern 2: Solid White */
	struct pattern_color_node_t color_step_2 = {
		.color_idx = white_node->color_idx,
		.duration_ms = 1000,
	};
	struct led_pattern_node_t pattern_2 = {
		.led_id = EC_LED_ID_BATTERY_LED,
		.pattern_color = &color_step_2,
		.pattern_len = 1,
		.cycle_limit = 0,
		.transition = LED_TRANSITION_STEP,
	};
	struct custom_led_patterns_t custom_2 = {
		.led_patterns = &pattern_2,
		.num_patterns = 1,
		.led_id = EC_LED_ID_BATTERY_LED,
	};

	/* Apply Custom 1 (Blue) */
	led_set_custom_patterns(&custom_1);
	k_sleep(K_MSEC(30));
	zassert_true(is_blue_on(), "Custom 1 failed");

	/* Apply Custom 2 (White) immediately */
	led_set_custom_patterns(&custom_2);
	k_sleep(K_MSEC(30));
	zassert_true(is_white_on(), "Custom 2 failed to replace Custom 1");

	/* Clear */
	led_set_custom_patterns(NULL);
	k_sleep(K_MSEC(30));
	zassert_true(is_off(), "Failed to clear custom pattern");
}
```

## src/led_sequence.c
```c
/* Copyright 2026 The ChromiumOS Authors
 * Use of this source code is governed by a BSD-style license that can be
 * found in the LICENSE file.
 */

#include "gpio.h"
#include "hooks.h"
#include "host_command.h"
#include "led_common.h"
#include "test/drivers/test_state.h"
#include "test/drivers/utils.h"

#include <zephyr/ztest.h>

extern uint32_t led_test_apply_count;

void set_board_led_alt_policy(int label);

static void *led_sequence_setup(void)
{
	/* Sleep to allow init functions to complete and timing to settle */
	k_sleep(K_MSEC(1000));

	return NULL;
}

ZTEST_SUITE(led_driver_sequence, drivers_predicate_post_main,
	    led_sequence_setup, NULL, NULL, NULL);

static bool is_blue_on(void)
{
	return gpio_pin_get_dt(GPIO_DT_FROM_NODELABEL(gpio_ec_chg_led_y_c0));
}

static bool is_white_on(void)
{
	return gpio_pin_get_dt(GPIO_DT_FROM_NODELABEL(gpio_ec_chg_led_w_c0));
}

static bool is_off(void)
{
	return !is_blue_on() && !is_white_on();
}

static void wait_and_assert_led_state(bool (*check_fn)(void), int min_ms,
				      int max_ms, const char *state_name)
{
	int64_t start = k_uptime_get();
	int64_t now;
	int64_t elapsed;

	while (true) {
		if (check_fn()) {
			break;
		}
		now = k_uptime_get();
		elapsed = now - start;
		zassert_true(
			elapsed <= max_ms,
			"Timeout waiting for %s. Elapsed: %lld ms, Limit: %d ms",
			state_name, elapsed, max_ms);
		k_sleep(K_MSEC(10));
	}

	now = k_uptime_get();
	elapsed = now - start;
	zassert_true(
		elapsed >= min_ms,
		"Transition to %s too fast. Elapsed: %lld ms, Expected >= %d ms",
		state_name, elapsed, min_ms);
}

ZTEST(led_driver_sequence, test_infinite_loop)
{
	/* Select the infinite loop policy node */
	set_board_led_alt_policy(2);
	led_control(EC_LED_ID_BATTERY_LED, LED_STATE_RESET);
	led_test_apply_count = 0;

	hook_notify(HOOK_TICK);
	k_sleep(K_MSEC(30));
	zassert_true(is_blue_on(), "Sync to Blue should occur within 1 tick");
	zassert_equal(led_test_apply_count, 1,
		      "Expected 1 apply (sync), got %d", led_test_apply_count);

	/* Pattern: Blue(500ms) -> White(500ms). Test 5 full cycles. */
	for (int i = 0; i < 5; i++) {
		/*
		 * Lower bound: 1 animation tick (30ms) early + polling margin.
		 * Upper bound: 1 animation tick (30ms) late + polling margin.
		 */
		wait_and_assert_led_state(is_white_on, 450, 550, "White");
		zassert_equal(led_test_apply_count, 2 * i + 2,
			      "Expected %d applies, got %d", 2 * i + 2,
			      led_test_apply_count);
		wait_and_assert_led_state(is_blue_on, 450, 550, "Blue");
		zassert_equal(led_test_apply_count, 2 * i + 3,
			      "Expected %d applies, got %d", 2 * i + 3,
			      led_test_apply_count);
	}
}

ZTEST(led_driver_sequence, test_run_once)
{
	/* Select the run-once policy node */
	set_board_led_alt_policy(3);
	led_control(EC_LED_ID_BATTERY_LED, LED_STATE_RESET);
	led_test_apply_count = 0;

	/* At 0ms: White */
	hook_notify(HOOK_TICK);
	k_sleep(K_MSEC(30));
	zassert_true(is_white_on(), "Sync to White should occur within 1 tick");
	zassert_equal(led_test_apply_count, 1,
		      "Expected 1 apply (sync), got %d", led_test_apply_count);

	/* At 250ms: Blue */
	wait_and_assert_led_state(is_blue_on, 200, 300, "Blue");
	zassert_equal(led_test_apply_count, 2, "Expected 2 applies, got %d",
		      led_test_apply_count);

	/* At 500ms: Hold the last color Blue */
	k_sleep(K_MSEC(250));
	zassert_equal(led_test_apply_count, 3, "Expected 3 applies, got %d",
		      led_test_apply_count);

	/*
	 * Pattern cycle limit (1) has been reached. Test several more ticks to
	 * verify the state remains held on Blue.
	 */
	for (int i = 0; i < 10; i++) {
		k_sleep(K_MSEC(250));
		zassert_true(is_blue_on(), "Tick %d: Expected to hold Blue", i);
		zassert_equal(led_test_apply_count, 3,
			      "Apply count increased during hold state: %d.",
			      led_test_apply_count);
	}
}

ZTEST(led_driver_sequence, test_auto_off_then_on)
{
	/* Select the run-once policy node */
	set_board_led_alt_policy(3);
	led_control(EC_LED_ID_BATTERY_LED, LED_STATE_RESET);

	hook_notify(HOOK_TICK);

	/* Verify LED pattern has terminated at blue */
	k_sleep(K_MSEC(500));
	zassert_true(is_blue_on(), "LED Color Expected to be Blue");
	k_sleep(K_MSEC(250));
	zassert_true(is_blue_on(), "LED Color Expected to be Blue");

	int ret;
	struct ec_response_led_control response;
	struct ec_params_led_control params = {
		.led_id = EC_LED_ID_BATTERY_LED, .flags = 0x00,
		/* All color channels off */
	};

	ret = ec_cmd_led_control_v1(NULL, &params, &response);
	zassert_equal(EC_RES_SUCCESS, ret, "Host command returned %d", ret);
	zassert_true(is_off(),
		     "LED Color Expected to be Off after host command");
	k_sleep(K_MSEC(500));
	zassert_true(is_off(),
		     "LED Color Expected to be Off after host command");

	params.flags = EC_LED_FLAGS_AUTO;

	ret = ec_cmd_led_control_v1(NULL, &params, &response);
	zassert_equal(EC_RES_SUCCESS, ret, "Host command returned %d", ret);

	/* Rerun "run once" test to verify LED has reset after auto */
	led_test_apply_count = 0;
	hook_notify(HOOK_TICK);
	k_sleep(K_MSEC(30));
	zassert_true(is_white_on(), "Sync to White should occur within 1 tick");
	zassert_equal(led_test_apply_count, 1,
		      "Expected 1 apply (sync), got %d", led_test_apply_count);

	/* At 250ms: Blue */
	wait_and_assert_led_state(is_blue_on, 200, 300, "Blue");
	zassert_equal(led_test_apply_count, 2, "Expected 2 applies, got %d",
		      led_test_apply_count);

	/* At 500ms: Hold the last color Blue */
	k_sleep(K_MSEC(250));
	zassert_equal(led_test_apply_count, 3, "Expected 3 applies, got %d",
		      led_test_apply_count);

	/*
	 * Pattern cycle limit (1) has been reached. Test several more ticks to
	 * verify the state remains held on Blue.
	 */
	for (int i = 0; i < 10; i++) {
		k_sleep(K_MSEC(250));
		zassert_true(is_blue_on(), "Tick %d: Expected to hold Blue", i);
		zassert_equal(led_test_apply_count, 3,
			      "Apply count increased during hold state: %d.",
			      led_test_apply_count);
	}
}

ZTEST(led_driver_sequence, test_instant_init)
{
	/* Select the instant transition at start policy node */
	set_board_led_alt_policy(4);
	led_control(EC_LED_ID_BATTERY_LED, LED_STATE_RESET);

	hook_notify(HOOK_TICK);
	k_sleep(K_MSEC(30));
	zassert_true(is_white_on(),
		     "Failed to skip initial 0ms steps to White");
}

ZTEST(led_driver_sequence, test_all_zero_safety_guard)
{
	/* Select the all-zero policy node */
	set_board_led_alt_policy(5);
	led_control(EC_LED_ID_BATTERY_LED, LED_STATE_RESET);

	/* Safety guard should prevent infinite loop and CPU hang */
	hook_notify(HOOK_TICK);
	k_sleep(K_MSEC(30));
	zassert_true(is_white_on() || is_blue_on());
}

ZTEST(led_driver_sequence, test_mid_pattern_instant)
{
	/* Select the instant transition in middle policy node */
	set_board_led_alt_policy(6);
	led_control(EC_LED_ID_BATTERY_LED, LED_STATE_RESET);

	/* At 0ms: Land on Blue */
	hook_notify(HOOK_TICK);
	k_sleep(K_MSEC(30));
	zassert_true(is_blue_on());

	/* At 250ms: Blue expires, skips Off(0ms), lands on White */
	wait_and_assert_led_state(is_white_on, 200, 300, "White");
}

ZTEST(led_driver_sequence, test_no_matching_policy_found)
{
	/* Setup a known valid state (Blue). */
	set_board_led_alt_policy(2);
	led_control(EC_LED_ID_BATTERY_LED, LED_STATE_RESET);

	/* Trigger tick to apply the Blue color */
	hook_notify(HOOK_TICK);
	k_sleep(K_MSEC(30));
	zassert_true(is_blue_on(), "Setup failed: LED should be Blue");

	/* Set Alt Policy Label to a non-existent value (99). */
	set_board_led_alt_policy(99);

	/* Trigger tick logic. */
	hook_notify(HOOK_TICK);
	k_sleep(K_MSEC(30));

	/* Verify the LED state should be unchanged. */
	zassert_true(is_blue_on(),
		     "Driver should not update HW if no policy matches.");
}
```

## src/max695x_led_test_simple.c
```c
/* Copyright 2026 The ChromiumOS Authors
 * Use of this source code is governed by a BSD-style license that can be
 * found in the LICENSE file.
 *
 * Unit tests for MAX695x 7-segment LED display driver
 */

#include "chipset.h"
#include "console.h"
#include "display_7seg.h"
#include "hooks.h"
#include "test/drivers/test_state.h"
#include "util.h"

#include <stdint.h>

#include <zephyr/shell/shell.h>
#include <zephyr/shell/shell_dummy.h>
#include <zephyr/ztest.h>

/* Simple test to verify display_7seg_write doesn't crash */
ZTEST(max695x_led, test_display_7seg_write_basic)
{
	int ret;

	/* Test console display */
	ret = display_7seg_write(SEVEN_SEG_CONSOLE_DISPLAY, 0x1234);
	zassert_ok(ret, "Console display should succeed");

	/* Test EC display */
	ret = display_7seg_write(SEVEN_SEG_EC_DISPLAY, 0x5678);
	zassert_ok(ret, "EC display should succeed");

	/* Test PORT80 display */
	ret = display_7seg_write(SEVEN_SEG_PORT80_DISPLAY, 0x9ABC);
	zassert_ok(ret, "PORT80 display should succeed");
}

/* Test invalid display module */
ZTEST(max695x_led, test_display_7seg_write_invalid)
{
	int ret = display_7seg_write(99, 0x1234); /* Invalid module */
	zassert_equal(ret, EC_ERROR_UNKNOWN,
		      "Should return error for invalid module");
}

/* Test hooks don't crash */
ZTEST(max695x_led, test_max695x_hooks)
{
	hook_notify(HOOK_INIT);
	hook_notify(HOOK_CHIPSET_STARTUP);
	hook_notify(HOOK_CHIPSET_SHUTDOWN);

	zassert_true(true, "Hooks executed without crashing");
}

/* Test boundary values */
ZTEST(max695x_led, test_display_7seg_boundary_values)
{
	int ret;

	/* Test minimum value */
	ret = display_7seg_write(SEVEN_SEG_CONSOLE_DISPLAY, 0x0000);
	zassert_ok(ret, "Should handle minimum value");

	/* Test maximum value */
	ret = display_7seg_write(SEVEN_SEG_CONSOLE_DISPLAY, 0xFFFF);
	zassert_ok(ret, "Should handle maximum value");
}

/*
 * Console command tests - using shell execution to test the actual
 * driver function.
 */

/* Test console command with insufficient arguments */
ZTEST(max695x_led, test_console_command_insufficient_args)
{
	/*
	 * Test with no arguments - should trigger argc < 2 path in
	 * driver function
	 */
	int ret = shell_execute_cmd(get_ec_shell(), "seg");
	zassert_not_equal(ret, 0, "return error for no arguments");
}

/* Test console command with valid values */
ZTEST(max695x_led, test_console_command_valid_values)
{
	int ret;

	/* Test decimal value */
	ret = shell_execute_cmd(get_ec_shell(), "seg 1234");
	zassert_equal(ret, 0, "Should accept valid decimal value");

	/* Test hex value */
	ret = shell_execute_cmd(get_ec_shell(), "seg 0x1234");
	zassert_equal(ret, 0, "Should accept valid hex value");

	/* Test valid hex uppercase command */
	ret = shell_execute_cmd(get_ec_shell(), "seg 0XABCD");
	zassert_equal(ret, 0, "Valid uppercase hex seg command");

	/* Test minimum value */
	ret = shell_execute_cmd(get_ec_shell(), "seg 0");
	zassert_equal(ret, 0, "Should accept minimum value 0");

	/* Test maximum value (65535 = 0xFFFF) */
	ret = shell_execute_cmd(get_ec_shell(), "seg 65535");
	zassert_equal(ret, 0, "Should accept maximum value 65535");
}

/* Test console command with invalid values */
ZTEST(max695x_led, test_console_command_invalid_values)
{
	int ret;

	/* Test invalid parameter */
	ret = shell_execute_cmd(get_ec_shell(), "seg invalid");
	zassert_not_equal(ret, 0, "Invalid parameter should fail");

	/* Test negative value */
	ret = shell_execute_cmd(get_ec_shell(), "seg -1");
	zassert_not_equal(ret, 0, "Should reject negative values");

	/* Test overflow value (val > UINT16_MAX path) */
	ret = shell_execute_cmd(get_ec_shell(), "seg 65536");
	zassert_not_equal(ret, 0, "Should reject values > 65535");

	/* Test non-numeric string */
	ret = shell_execute_cmd(get_ec_shell(), "seg abc");
	zassert_not_equal(ret, 0, "Should reject non-numeric strings");

	/* Test mixed alphanumeric (invalid) */
	ret = shell_execute_cmd(get_ec_shell(), "seg 123abc");
	zassert_not_equal(ret, 0, "Should reject alphanumeric strings");

	/* Test string with spaces (should trigger *e != 0 path) */
	ret = shell_execute_cmd(get_ec_shell(), "seg '12 34'");
	zassert_not_equal(ret, 0, "Number with spaces should fail");
}

/* Test console command boundary cases */
ZTEST(max695x_led, test_console_command_boundary_cases)
{
	int ret;

	/* Test hex prefix variants */
	ret = shell_execute_cmd(get_ec_shell(), "seg 0X1234");
	zassert_equal(ret, 0, "Should accept uppercase hex prefix");

	/* Test octal value (starts with 0) */
	ret = shell_execute_cmd(get_ec_shell(), "seg 01234");
	zassert_equal(ret, 0, "Should accept octal values");

	/* Test maximum hex value */
	ret = shell_execute_cmd(get_ec_shell(), "seg 0xFFFF");
	zassert_equal(ret, 0, "Should accept maximum hex value 0xFFFF");

	/* Test overflow hex value */
	ret = shell_execute_cmd(get_ec_shell(), "seg 0x10000");
	zassert_not_equal(ret, 0, "Should reject hex values > 0xFFFF");
}

/* Test console command with whitespace handling */
ZTEST(max695x_led, test_console_command_whitespace)
{
	int ret;

	/* Test leading whitespace */
	ret = shell_execute_cmd(get_ec_shell(), "seg 123");
	zassert_equal(ret, 0, "Should handle whitespace properly");

	/* Test trailing characters after valid number - should fail */
	ret = shell_execute_cmd(get_ec_shell(), "seg 123abc");
	zassert_not_equal(ret, 0, "Should reject alphanumeric characters");
}

ZTEST_SUITE(max695x_led, drivers_predicate_post_main, NULL, NULL, NULL, NULL);
```

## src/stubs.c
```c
// Copyright 2025 The ChromiumOS Authors
// Use of this source code is governed by a BSD-style license that can be
// found in the LICENSE file.

#include "driver/led/max695x.h"
#include "drivers/led.h"
#include "ec_commands.h"
#include "led_common.h"

/* MAX695x test configuration */
#ifndef PORT80_I2C_ADDR
#define PORT80_I2C_ADDR MAX695X_I2C_ADDR1_FLAGS
#endif

static int mock_alt_policy = 1;

void set_board_led_alt_policy(int label)
{
	mock_alt_policy = label;
}

__override int board_led_alt_policy(void)
{
	return mock_alt_policy;
}
```
